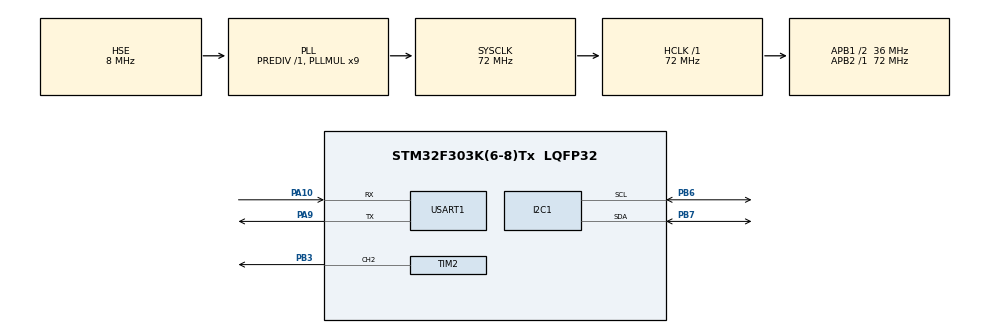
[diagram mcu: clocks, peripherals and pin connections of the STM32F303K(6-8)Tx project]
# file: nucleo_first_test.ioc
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Mcu.Family=STM32F3
Mcu.Name=STM32F303K(6-8)Tx
Mcu.Package=LQFP32
NVIC.PriorityGroup=NVIC_PRIORITYGROUP_4
NVIC.TIM2_IRQn=true\:0\:0\:false\:false\:true\:true\:true
NVIC.USART1_IRQn=true\:0\:0\:false\:false\:true\:true\:true
PA10.Mode=Asynchronous
PA10.Signal=USART1_RX
PA9.Mode=Asynchronous
PA9.Signal=USART1_TX
PB3.Signal=S_TIM2_CH2
PB6.Mode=I2C
PB6.Signal=I2C1_SCL
PB7.Mode=I2C
PB7.Signal=I2C1_SDA
PF0\ /\ OSC_IN.Mode=HSE-External-Oscillator
PF0\ /\ OSC_IN.Signal=RCC_OSC_IN
PF1\ /\ OSC_OUT.Mode=HSE-External-Oscillator
PF1\ /\ OSC_OUT.Signal=RCC_OSC_OUT
ProjectManager.HeapSize=0x200
ProjectManager.StackSize=0x400
ProjectManager.TargetToolchain=SW4STM32
RCC.AHBFreq_Value=72000000
RCC.APB1CLKDivider=RCC_HCLK_DIV2
RCC.APB1Freq_Value=36000000
RCC.APB1TimFreq_Value=72000000
RCC.APB2Freq_Value=72000000
RCC.APB2TimFreq_Value=72000000
RCC.CortexFreq_Value=72000000
RCC.EnbaleCSS=true
RCC.HCLKFreq_Value=72000000
RCC.HSE_VALUE=8000000
RCC.HSI_VALUE=8000000
RCC.PLLMUL=RCC_PLL_MUL9
RCC.PLLSourceVirtual=RCC_PLLSOURCE_HSE
RCC.SYSCLKFreq_VALUE=72000000
RCC.SYSCLKSourceVirtual=RCC_SYSCLKSOURCE_PLLCLK
SH.S_TIM2_CH2.0=TIM2_CH2,PWM Generation2 CH2
TIM2.AutoReloadPreload=TIM_AUTORELOAD_PRELOAD_DISABLE
TIM2.Channel-PWM\ Generation2\ CH2=TIM_CHANNEL_2
TIM2.Period=999
TIM2.Prescaler=7
TIM2.Pulse-PWM\ Generation2\ CH2=500
USART1.VirtualMode-Asynchronous=VM_ASYNC
VP_TIM2_VS_ClockSourceINT.Mode=Internal
board=custom

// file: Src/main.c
/* USER CODE BEGIN Header */
/**
  ******************************************************************************
  * @file           : main.c
  * @brief          : Main program body
  ******************************************************************************
  ** This notice applies to any and all portions of this file
  * that are not between comment pairs USER CODE BEGIN and
  * USER CODE END. Other portions of this file, whether
  * inserted by the user or by software development tools
  * are owned by their respective copyright owners.
  *
  * COPYRIGHT(c) 2019 STMicroelectronics
  *
  * Redistribution and use in source and binary forms, with or without modification,
  * are permitted provided that the following conditions are met:
  *   1. Redistributions of source code must retain the above copyright notice,
  *      this list of conditions and the following disclaimer.
  *   2. Redistributions in binary form must reproduce the above copyright notice,
  *      this list of conditions and the following disclaimer in the documentation
  *      and/or other materials provided with the distribution.
  *   3. Neither the name of STMicroelectronics nor the names of its contributors
  *      may be used to endorse or promote products derived from this software
  *      without specific prior written permission.
  *
  * THIS SOFTWARE IS PROVIDED BY THE COPYRIGHT HOLDERS AND CONTRIBUTORS "AS IS"
  * AND ANY EXPRESS OR IMPLIED WARRANTIES, INCLUDING, BUT NOT LIMITED TO, THE
  * IMPLIED WARRANTIES OF MERCHANTABILITY AND FITNESS FOR A PARTICULAR PURPOSE ARE
  * DISCLAIMED. IN NO EVENT SHALL THE COPYRIGHT HOLDER OR CONTRIBUTORS BE LIABLE
  * FOR ANY DIRECT, INDIRECT, INCIDENTAL, SPECIAL, EXEMPLARY, OR CONSEQUENTIAL
  * DAMAGES (INCLUDING, BUT NOT LIMITED TO, PROCUREMENT OF SUBSTITUTE GOODS OR
  * SERVICES; LOSS OF USE, DATA, OR PROFITS; OR BUSINESS INTERRUPTION) HOWEVER
  * CAUSED AND ON ANY THEORY OF LIABILITY, WHETHER IN CONTRACT, STRICT LIABILITY,
  * OR TORT (INCLUDING NEGLIGENCE OR OTHERWISE) ARISING IN ANY WAY OUT OF THE USE
  * OF THIS SOFTWARE, EVEN IF ADVISED OF THE POSSIBILITY OF SUCH DAMAGE.
  *
  ******************************************************************************
  */
/* USER CODE END Header */

#include "main.h"

/* USER CODE BEGIN Includes */
#include <math.h>
//#include <errno.h>
#include "MadgwickAHRS.h"
#include "sd_hal_mpu6050.h"

/* USER CODE END Includes */

I2C_HandleTypeDef hi2c1;

TIM_HandleTypeDef htim2;

UART_HandleTypeDef huart1;

/* USER CODE BEGIN PV */
#include "mpu6050.h"
SD_MPU6050 mpu1;
float g_x = 0, g_y = 0, g_z = 0, a_x = 0, a_y = 0, a_z = 0;
float temp = -1;
uint32_t init_ok = 0;
int __errno = 0;

//ahrs
extern volatile float beta;				// algorithm gain
extern volatile float q0, q1, q2, q3;	// quaternion of sensor frame relative to auxiliary frame

//mpu6050.h
extern float mpu6050_gf[3];
extern float mpu6050_af[3];
uint8_t data[5];

//pid
float time=0, timePrev=0, elapsedTime=0;

float error_roll=0, errorPrev_roll=0;
float error_pitch=0, errorPrev_pitch=0;
float error_yaw=0, errorPrev_yaw=0;

float PID_roll=0, PID_pitch=0, PID_yaw=0;

float c_p_roll=20, c_p_pitch=20, c_p_yaw=20;
float c_i_roll=0.1, c_i_pitch=0.1, c_i_yaw=0.1;
float c_d_roll=32, c_d_pitch=32, c_d_yaw=32;

float p_roll=0, p_pitch=0, p_yaw=0;
float i_roll=0, i_pitch=0, i_yaw=0;
float d_roll=0, d_pitch=0, d_yaw=0;

float desired_angle_roll = 0, desired_angle_pitch = 0, desired_angle_yaw = 0;

float yaw=0, pitch=0, roll=0;

uint8_t sendUART[50];
uint16_t sizeSendUART = 0;
uint8_t receiveUART[50];
uint16_t sizeReceiveUART = 0;

/* USER CODE END PV */

void SystemClock_Config(void);
static void MX_GPIO_Init(void);
static void MX_TIM2_Init(void);
static void MX_I2C1_Init(void);
static void MX_USART1_UART_Init(void);

/* USER CODE BEGIN 0 */
void HAL_TIM_PeriodElapsedCallback(TIM_HandleTypeDef *htim) {
    if (htim->Instance == TIM2) {
        sizeSendUART = sprintf(sendUART, "Wiadomosc do wyslania: %d. \n\r");
        HAL_UART_Transmit_IT(&huart1, sendUART, sizeSendUART);
        HAL_UART_Receive_IT(&huart1, receiveUART, sizeReceiveUART);

    }
}
void toEulerAngle(const float q0, const float q1, const float q2, const float q3) {
    // roll (x-axis rotation)
    float sinr_cosp = +2.0 * (q0 * q1 + q2 * q3);
    float cosr_cosp = +1.0 - 2.0 * (q1 * q1 + q2 * q2);
    roll = atan2(sinr_cosp, cosr_cosp);

    // pitch (y-axis rotation)
    float sinp = +2.0 * (q0 * q2 - q3 * q1);
    if (fabs(sinp) >= 1)
        pitch = copysign(M_PI / 2, sinp); // use 90 degrees if out of range
    else
        pitch = asin(sinp)*100;

    // yaw (z-axis rotation)
    float siny_cosp = +2.0 * (q0 * q3 + q1 * q2);
    float cosy_cosp = +1.0 - 2.0 * (q2 * q2 + q3 * q3);
    yaw = atan2(siny_cosp, cosy_cosp);
}
/* USER CODE END 0 */

int main(void)
{
  /* USER CODE BEGIN 1 */
    //SD_MPU6050_Result result;
  /* USER CODE END 1 */

  /* MCU Configuration--------------------------------------------------------*/

  /* Reset of all peripherals, Initializes the Flash interface and the Systick. */
  HAL_Init();

  /* Configure the system clock */
  SystemClock_Config();

  /* Initialize all configured peripherals */
  MX_GPIO_Init();
  MX_TIM2_Init();
  MX_I2C1_Init();
  MX_USART1_UART_Init();
  /* USER CODE BEGIN 2 */
    //TIM2 init
    HAL_TIM_Base_Start_IT(&htim2);
    HAL_TIM_PWM_Start(&htim2, TIM_CHANNEL_2);

//    result = SD_MPU6050_Init(&hi2c1, &mpu1, SD_MPU6050_Device_0, SD_MPU6050_Accelerometer_8G,
//                             SD_MPU6050_Gyroscope_1000s);
//    if (result == SD_MPU6050_Result_Ok) init_ok = 1;

    mpu6050_init();
    mpu6050_getgyrodata();
    mpu6050_getacceldata();

    time = HAL_GetTick();

  /* USER CODE END 2 */

  /* Infinite loop */
  /* USER CODE BEGIN WHILE */
    while (1) {

        timePrev = time;
        time = HAL_GetTick();
        elapsedTime = (time - timePrev) / 1000;

//        TIM2->CCR2 = init_ok * 999;
//        if (init_ok) {
//            SD_MPU6050_ReadAll(&hi2c1, &mpu1);
//            temp = mpu1.Temperature;
//
//            g_x = (mpu1.Gyroscope_X*250.0)/32768.0;
//            g_z = (mpu1.Gyroscope_Z*250.0)/32768.0;
//            g_y = (mpu1.Gyroscope_Y*250.0)/32768.0;
//            a_x = (mpu1.Accelerometer_X*2.0)/32768.0;
//            a_y = (mpu1.Accelerometer_Y*2.0)/32768.0;
//            a_z = (mpu1.Accelerometer_Z*2.0)/32768.0;
//            /*
//            g_x = mpu1.Gyroscope_X;
//            g_z = mpu1.Gyroscope_Z;
//            g_y = mpu1.Gyroscope_Y;
//            a_x = mpu1.Accelerometer_X;
//            a_y = mpu1.Accelerometer_Y;
//            a_z = mpu1.Accelerometer_Z;
//             */
//        }

        mpu6050_getgyrodata();
        mpu6050_getacceldata();
        g_x = mpu6050_gf[0];
        g_z = mpu6050_gf[2];
        g_y = mpu6050_gf[1];
        a_x = mpu6050_af[0];
        a_y = mpu6050_af[1];
        a_z = mpu6050_af[2];

        MadgwickAHRSupdateIMU(g_x, g_y, g_z, a_x, a_y, a_z);

        //toEulerAngle(q0,q1,q2,q3);
        roll = atan2f(q0*q1 + q2*q3, 0.5f - q1*q1 - q2*q2)*57.29578f;
        pitch = asinf(-2.0f * (q1*q3 - q0*q2))*57.29578f;
        yaw = atan2f(q1*q2 + q0*q3, 0.5f - q2*q2 - q3*q3)*57.29578f + 180.0f;

        error_roll = roll - desired_angle_roll;
        error_pitch = pitch - desired_angle_pitch;
        error_yaw = yaw - desired_angle_yaw;

        p_pitch = c_p_pitch*error_pitch;
        i_pitch = i_pitch + (c_i_pitch*error_pitch);
        d_pitch = c_d_pitch*((error_pitch-errorPrev_pitch)/elapsedTime);

        PID_pitch = p_pitch + i_pitch + d_pitch;

        p_roll = c_p_roll*error_roll;
        i_roll = i_roll + (c_i_roll*error_roll);
        d_roll = c_d_roll*((error_roll-errorPrev_roll)/elapsedTime);

        PID_roll = p_roll + i_roll + d_roll;

        p_yaw = c_p_yaw*error_yaw;
        i_yaw = i_yaw + (c_i_yaw*error_yaw);
        d_yaw = c_d_yaw*((error_yaw-errorPrev_yaw)/elapsedTime);

        PID_yaw = p_yaw + i_yaw + d_yaw;

        PID_roll = p_roll + i_roll + d_roll;

        errorPrev_pitch = error_pitch;
        errorPrev_roll = error_roll;
        errorPrev_yaw = error_yaw;
    /* USER CODE END WHILE */

    }
}

void SystemClock_Config(void)
{
  RCC_OscInitTypeDef RCC_OscInitStruct = {0};
  RCC_ClkInitTypeDef RCC_ClkInitStruct = {0};
  RCC_PeriphCLKInitTypeDef PeriphClkInit = {0};

  /** Initializes the CPU, AHB and APB busses clocks
  */
  RCC_OscInitStruct.OscillatorType = RCC_OSCILLATORTYPE_HSI|RCC_OSCILLATORTYPE_HSE;
  RCC_OscInitStruct.HSEState = RCC_HSE_ON;
  RCC_OscInitStruct.HSEPredivValue = RCC_HSE_PREDIV_DIV1;
  RCC_OscInitStruct.HSIState = RCC_HSI_ON;
  RCC_OscInitStruct.HSICalibrationValue = RCC_HSICALIBRATION_DEFAULT;
  RCC_OscInitStruct.PLL.PLLState = RCC_PLL_ON;
  RCC_OscInitStruct.PLL.PLLSource = RCC_PLLSOURCE_HSE;
  RCC_OscInitStruct.PLL.PLLMUL = RCC_PLL_MUL9;
  if (HAL_RCC_OscConfig(&RCC_OscInitStruct) != HAL_OK)
  {
    Error_Handler();
  }
  /** Initializes the CPU, AHB and APB busses clocks
  */
  RCC_ClkInitStruct.ClockType = RCC_CLOCKTYPE_HCLK|RCC_CLOCKTYPE_SYSCLK
                              |RCC_CLOCKTYPE_PCLK1|RCC_CLOCKTYPE_PCLK2;
  RCC_ClkInitStruct.SYSCLKSource = RCC_SYSCLKSOURCE_PLLCLK;
  RCC_ClkInitStruct.AHBCLKDivider = RCC_SYSCLK_DIV1;
  RCC_ClkInitStruct.APB1CLKDivider = RCC_HCLK_DIV2;
  RCC_ClkInitStruct.APB2CLKDivider = RCC_HCLK_DIV1;

  if (HAL_RCC_ClockConfig(&RCC_ClkInitStruct, FLASH_LATENCY_2) != HAL_OK)
  {
    Error_Handler();
  }
  PeriphClkInit.PeriphClockSelection = RCC_PERIPHCLK_USART1|RCC_PERIPHCLK_I2C1;
  PeriphClkInit.Usart1ClockSelection = RCC_USART1CLKSOURCE_PCLK1;
  PeriphClkInit.I2c1ClockSelection = RCC_I2C1CLKSOURCE_HSI;
  if (HAL_RCCEx_PeriphCLKConfig(&PeriphClkInit) != HAL_OK)
  {
    Error_Handler();
  }
  /** Enables the Clock Security System
  */
  HAL_RCC_EnableCSS();
}

static void MX_I2C1_Init(void)
{

  hi2c1.Instance = I2C1;
  hi2c1.Init.Timing = 0x2000090E;
  hi2c1.Init.OwnAddress1 = 0;
  hi2c1.Init.AddressingMode = I2C_ADDRESSINGMODE_7BIT;
  hi2c1.Init.DualAddressMode = I2C_DUALADDRESS_DISABLE;
  hi2c1.Init.OwnAddress2 = 0;
  hi2c1.Init.OwnAddress2Masks = I2C_OA2_NOMASK;
  hi2c1.Init.GeneralCallMode = I2C_GENERALCALL_DISABLE;
  hi2c1.Init.NoStretchMode = I2C_NOSTRETCH_DISABLE;
  if (HAL_I2C_Init(&hi2c1) != HAL_OK)
  {
    Error_Handler();
  }
  /** Configure Analogue filter
  */
  if (HAL_I2CEx_ConfigAnalogFilter(&hi2c1, I2C_ANALOGFILTER_ENABLE) != HAL_OK)
  {
    Error_Handler();
  }
  /** Configure Digital filter
  */
  if (HAL_I2CEx_ConfigDigitalFilter(&hi2c1, 0) != HAL_OK)
  {
    Error_Handler();
  }

}

static void MX_TIM2_Init(void)
{

  TIM_ClockConfigTypeDef sClockSourceConfig = {0};
  TIM_MasterConfigTypeDef sMasterConfig = {0};
  TIM_OC_InitTypeDef sConfigOC = {0};

  htim2.Instance = TIM2;
  htim2.Init.Prescaler = 7;
  htim2.Init.CounterMode = TIM_COUNTERMODE_UP;
  htim2.Init.Period = 999;
  htim2.Init.ClockDivision = TIM_CLOCKDIVISION_DIV1;
  htim2.Init.AutoReloadPreload = TIM_AUTORELOAD_PRELOAD_DISABLE;
  if (HAL_TIM_Base_Init(&htim2) != HAL_OK)
  {
    Error_Handler();
  }
  sClockSourceConfig.ClockSource = TIM_CLOCKSOURCE_INTERNAL;
  if (HAL_TIM_ConfigClockSource(&htim2, &sClockSourceConfig) != HAL_OK)
  {
    Error_Handler();
  }
  if (HAL_TIM_PWM_Init(&htim2) != HAL_OK)
  {
    Error_Handler();
  }
  sMasterConfig.MasterOutputTrigger = TIM_TRGO_RESET;
  sMasterConfig.MasterSlaveMode = TIM_MASTERSLAVEMODE_DISABLE;
  if (HAL_TIMEx_MasterConfigSynchronization(&htim2, &sMasterConfig) != HAL_OK)
  {
    Error_Handler();
  }
  sConfigOC.OCMode = TIM_OCMODE_PWM1;
  sConfigOC.Pulse = 500;
  sConfigOC.OCPolarity = TIM_OCPOLARITY_HIGH;
  sConfigOC.OCFastMode = TIM_OCFAST_DISABLE;
  if (HAL_TIM_PWM_ConfigChannel(&htim2, &sConfigOC, TIM_CHANNEL_2) != HAL_OK)
  {
    Error_Handler();
  }
  HAL_TIM_MspPostInit(&htim2);

}

static void MX_USART1_UART_Init(void)
{

  huart1.Instance = USART1;
  huart1.Init.BaudRate = 38400;
  huart1.Init.WordLength = UART_WORDLENGTH_8B;
  huart1.Init.StopBits = UART_STOPBITS_1;
  huart1.Init.Parity = UART_PARITY_NONE;
  huart1.Init.Mode = UART_MODE_TX_RX;
  huart1.Init.HwFlowCtl = UART_HWCONTROL_NONE;
  huart1.Init.OverSampling = UART_OVERSAMPLING_16;
  huart1.Init.OneBitSampling = UART_ONE_BIT_SAMPLE_DISABLE;
  huart1.AdvancedInit.AdvFeatureInit = UART_ADVFEATURE_NO_INIT;
  if (HAL_UART_Init(&huart1) != HAL_OK)
  {
    Error_Handler();
  }

}

static void MX_GPIO_Init(void)
{

  /* GPIO Ports Clock Enable */
  __HAL_RCC_GPIOF_CLK_ENABLE();
  __HAL_RCC_GPIOA_CLK_ENABLE();
  __HAL_RCC_GPIOB_CLK_ENABLE();

}

void Error_Handler(void)
{
}

/************************ (C) COPYRIGHT STMicroelectronics *****END OF FILE****/
